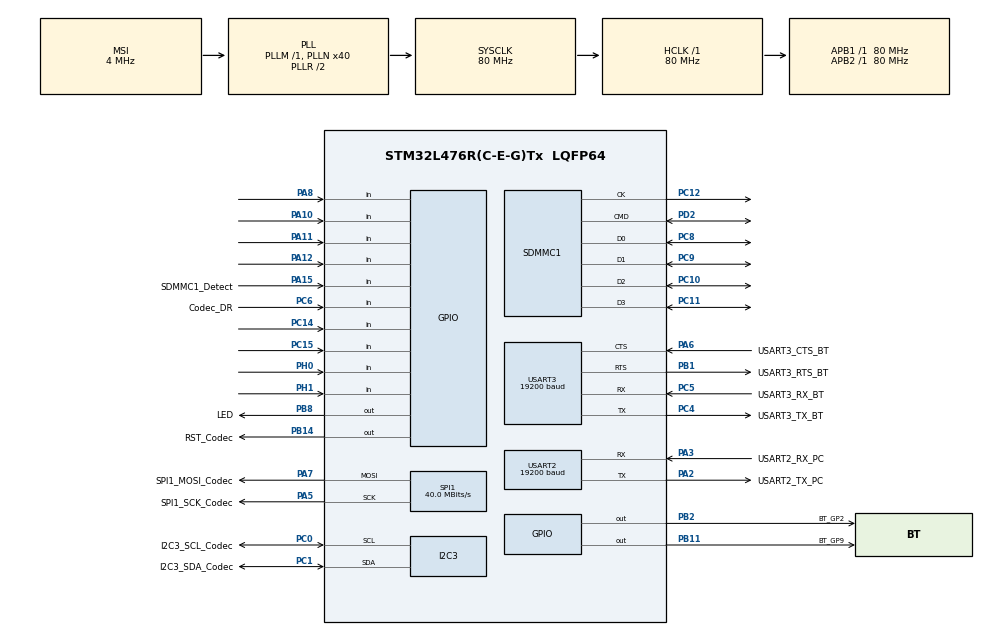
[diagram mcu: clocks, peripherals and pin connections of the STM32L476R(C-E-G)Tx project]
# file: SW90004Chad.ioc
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FREERTOS.Tasks01=defaultTask,0,256,StartDefaultTask,Default
FREERTOS.configMINIMAL_STACK_SIZE=128
FREERTOS.configTOTAL_HEAP_SIZE=4000
Mcu.Family=STM32L4
Mcu.Name=STM32L476R(C-E-G)Tx
Mcu.Package=LQFP64
NVIC.PriorityGroup=NVIC_PRIORITYGROUP_4
NVIC.TIM1_UP_TIM16_IRQn=true\:0\:0\:false\:false\:true
NVIC.TimeBase=TIM1_UP_TIM16_IRQn
NVIC.TimeBaseIP=TIM1
PA10.Signal=GPIO_Input
PA11.Signal=GPIO_Input
PA12.Signal=GPIO_Input
PA13.Mode=Serial-Wire
PA13.Signal=SYS_JTMS-SWDIO
PA14.Mode=Serial-Wire
PA14.Signal=SYS_JTCK-SWCLK
PA15.GPIO_Label=SDMMC1_Detect
PA15.Signal=GPIO_Input
PA2.GPIO_Label=USART2_TX_PC
PA2.Mode=Asynchronous
PA2.Signal=USART2_TX
PA3.GPIO_Label=USART2_RX_PC
PA3.Mode=Asynchronous
PA3.Signal=USART2_RX
PA5.GPIO_Label=SPI1_SCK_Codec
PA5.Mode=TX_Only_Simplex_Unidirect_Master
PA5.Signal=SPI1_SCK
PA6.GPIO_Label=USART3_CTS_BT
PA6.Mode=CTS_RTS
PA6.Signal=USART3_CTS
PA7.GPIO_Label=SPI1_MOSI_Codec
PA7.Mode=TX_Only_Simplex_Unidirect_Master
PA7.Signal=SPI1_MOSI
PA8.Signal=GPIO_Input
PB1.GPIO_Label=USART3_RTS_BT
PB1.Mode=CTS_RTS
PB1.Signal=USART3_RTS
PB11.GPIO_Label=BT_GP9
PB11.Signal=GPIO_Output
PB14.GPIO_Label=RST_Codec
PB14.Signal=GPIO_Output
PB2.GPIO_Label=BT_GP2
PB2.Signal=GPIO_Output
PB8.GPIO_Label=LED
PB8.Signal=GPIO_Output
PC0.GPIO_Label=I2C3_SCL_Codec
PC0.Mode=I2C
PC0.Signal=I2C3_SCL
PC1.GPIO_Label=I2C3_SDA_Codec
PC1.Mode=I2C
PC1.Signal=I2C3_SDA
PC10.Mode=SD_4_bits_Wide_bus
PC10.Signal=SDMMC1_D2
PC11.Mode=SD_4_bits_Wide_bus
PC11.Signal=SDMMC1_D3
PC12.Mode=SD_4_bits_Wide_bus
PC12.Signal=SDMMC1_CK
PC13.Mode=SYS-WakeUp2
PC13.Signal=SYS_WKUP2
PC14/OSC32_IN.Signal=GPIO_Input
PC15/OSC32_OUT.Signal=GPIO_Input
PC4.GPIO_Label=USART3_TX_BT
PC4.Mode=Asynchronous
PC4.Signal=USART3_TX
PC5.GPIO_Label=USART3_RX_BT
PC5.Mode=Asynchronous
PC5.Signal=USART3_RX
PC6.GPIO_Label=Codec_DR
PC6.Signal=GPIO_Input
PC8.Mode=SD_4_bits_Wide_bus
PC8.Signal=SDMMC1_D0
PC9.Mode=SD_4_bits_Wide_bus
PC9.Signal=SDMMC1_D1
PD2.Mode=SD_4_bits_Wide_bus
PD2.Signal=SDMMC1_CMD
PH0/OSC_IN.Signal=GPIO_Input
PH1/OSC_OUT.Signal=GPIO_Input
ProjectManager.HeapSize=0x400
ProjectManager.StackSize=0x200
ProjectManager.TargetToolchain=EWARM
RCC.ADCFreq_Value=32000000
RCC.AHBFreq_Value=80000000
RCC.APB1Freq_Value=80000000
RCC.APB1TimFreq_Value=80000000
RCC.APB2Freq_Value=80000000
RCC.APB2TimFreq_Value=80000000
RCC.CortexFreq_Value=80000000
RCC.HCLKFreq_Value=80000000
RCC.HSE_VALUE=8000000
RCC.HSI_VALUE=16000000
RCC.LSE_VALUE=32768
RCC.MSI_VALUE=4000000
RCC.PLLN=40
RCC.PLLSAI1N=16
RCC.SYSCLKFreq_VALUE=80000000
RCC.SYSCLKSource=RCC_SYSCLKSOURCE_PLLCLK
RCC.USBFreq_Value=32000000
RCC.VCOOutputFreq_Value=160000000
SDMMC1.BusWide=SDMMC_BUS_WIDE_1B
SDMMC1.WideMode=SDMMC_BUS_WIDE_4B
SPI1.CalculateBaudRate=40.0 MBits/s
SPI1.DataSize=SPI_DATASIZE_8BIT
SPI1.Mode=SPI_MODE_MASTER
USART2.BaudRate=19200
USART2.WordLength=UART_WORDLENGTH_8B
USART3.BaudRate=19200
USART3.WordLength=UART_WORDLENGTH_8B
VP_FATFS_VS_SDIO.Mode=SDIO
VP_FREERTOS_VS_ENABLE.Mode=Enabled
VP_SYS_VS_tim1.Mode=TIM1
board=SW90004Chad

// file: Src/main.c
/**
  ******************************************************************************
  * File Name          : main.c
  * Description        : Main program body
  ******************************************************************************
  *
  * COPYRIGHT(c) 2016 STMicroelectronics
  *
  * Redistribution and use in source and binary forms, with or without modification,
  * are permitted provided that the following conditions are met:
  *   1. Redistributions of source code must retain the above copyright notice,
  *      this list of conditions and the following disclaimer.
  *   2. Redistributions in binary form must reproduce the above copyright notice,
  *      this list of conditions and the following disclaimer in the documentation
  *      and/or other materials provided with the distribution.
  *   3. Neither the name of STMicroelectronics nor the names of its contributors
  *      may be used to endorse or promote products derived from this software
  *      without specific prior written permission.
  *
  * THIS SOFTWARE IS PROVIDED BY THE COPYRIGHT HOLDERS AND CONTRIBUTORS "AS IS"
  * AND ANY EXPRESS OR IMPLIED WARRANTIES, INCLUDING, BUT NOT LIMITED TO, THE
  * IMPLIED WARRANTIES OF MERCHANTABILITY AND FITNESS FOR A PARTICULAR PURPOSE ARE
  * DISCLAIMED. IN NO EVENT SHALL THE COPYRIGHT HOLDER OR CONTRIBUTORS BE LIABLE
  * FOR ANY DIRECT, INDIRECT, INCIDENTAL, SPECIAL, EXEMPLARY, OR CONSEQUENTIAL
  * DAMAGES (INCLUDING, BUT NOT LIMITED TO, PROCUREMENT OF SUBSTITUTE GOODS OR
  * SERVICES; LOSS OF USE, DATA, OR PROFITS; OR BUSINESS INTERRUPTION) HOWEVER
  * CAUSED AND ON ANY THEORY OF LIABILITY, WHETHER IN CONTRACT, STRICT LIABILITY,
  * OR TORT (INCLUDING NEGLIGENCE OR OTHERWISE) ARISING IN ANY WAY OUT OF THE USE
  * OF THIS SOFTWARE, EVEN IF ADVISED OF THE POSSIBILITY OF SUCH DAMAGE.
  *
  ******************************************************************************
  */
#include "stm32l4xx_hal.h"
#include "cmsis_os.h"
#include "fatfs.h"
#include "staConfig.h"
#include <stdint.h>

I2C_HandleTypeDef hi2c3;

SD_HandleTypeDef hsd1;
HAL_SD_CardInfoTypedef SDCardInfo1;

SPI_HandleTypeDef hspi1;

UART_HandleTypeDef huart2;
UART_HandleTypeDef huart3;

osThreadId defaultTaskHandle;

/* USER CODE BEGIN PV */
/* Private variables ---------------------------------------------------------*/

/* USER CODE END PV */

void SystemClock_Config(void);
static void MX_GPIO_Init(void);
static void MX_SDMMC1_SD_Init(void);
static void MX_USART2_UART_Init(void);
static void MX_USART3_UART_Init(void);
static void MX_SPI1_Init(void);
static void MX_I2C3_Init(void);
void StartDefaultTask(void const * argument);
static void setPin(char *pin);
static void volUp();
static void volDown();
//static void I2C_WriteBuffer(uint8_t I2C_ADDRESS, uint8_t *aTxBuffer, uint8_t TXBUFFERSIZE);
uint8_t staBoardInitPre(int x, int y);
uint8_t staBoardInitPost(int x, int y);

/* USER CODE BEGIN PFP

/* USER CODE END PFP */

int main(void)
{

  /* MCU Configuration----------------------------------------------------------*/

  /* Reset of all peripherals, Initializes the Flash interface and the Systick. */
  HAL_Init();

  /* Configure the system clock */
  SystemClock_Config();

  /* Initialize all configured peripherals */
  MX_GPIO_Init();
  MX_SDMMC1_SD_Init();
  MX_USART2_UART_Init();
  MX_USART3_UART_Init();
  MX_SPI1_Init();
  MX_I2C3_Init();

  /* USER CODE BEGIN 2 */

  int i=0;
  //char *msg = "\nConnected";
  uint8_t reg;
  uint8_t data;
  //setPin("2250");

//Send these values above to the i2c one at a time to load bin values
  //Configure low level Hardware (GPIO, CLOCK, NVIC...etc)
  HAL_I2C_MspInit(&hi2c3);
  uint8_t tmp;

/*  //Set STA013 to Run mode
  HAL_I2C_Master_Transmit(&hi2c3, 0x72 << 1, 114, 1, 1000);
*/

  //Initialize the Decoder
  //Load Registers
 /** for(i=0; i < 2013; i++){

	  	  data = staBoardInitPre(i,0);
		  reg = staBoardInitPre(i,1);
		  HAL_I2C_Master_Transmit(&hi2c3, data << 1, &reg, 1, 1000);
	  }
**/
  //Board specific initialization
  for(i=0; i < 13; i++){

	  	  data = staBoardInitPost(i,0);
		  reg = staBoardInitPost(i,1);
		  HAL_I2C_Master_Transmit(&hi2c3, data << 1, &reg, 1, 1000);
	  }

  reg = 1;
  data = 0x01;
  volatile HAL_StatusTypeDef status = HAL_I2C_IsDeviceReady(&hi2c3, data << 1, 10, 200);
  /*Check to verify ACK and see if 0xAC data at address 1 (which means the STA013 is present
  and running properly */
  volatile HAL_StatusTypeDef read = HAL_I2C_Mem_Read(&hi2c3, data << 1, reg, I2C_MEMADD_SIZE_8BIT, &tmp, 1, 1000);
  //volatile uint8_t regRead = sta013ReadReg(0x01);

  //Check if target device is ready for communication
  volatile HAL_StatusTypeDef check = HAL_I2C_IsDeviceReady(&hi2c3, data << 1, 10, 100);

  read = HAL_I2C_Slave_Receive(&hi2c3, (uint8_t *) (0x01 << 1), 1, 1000);
  read = HAL_I2C_Master_Receive(&hi2c3, (uint8_t)data << 1, (uint8_t *)reg, 1, 1000);

  //volatile HAL_StatusTypeDef check = HAL_I2C_IsDeviceReady(&hi2c3, 134 << 1, 10,100);

  ///if(HAL_I2C_IsDeviceReady(&hi2c3, 0 << 1, 10, 100) == HAL_OK){

	  //HAL_I2C_Master_Transmit();
	  //I2C_WriteBuffer(&hi2ci1,)
	  //HAL_I2C_Master_Transmit(&hi2c3, 0x01);
  //}

  //I2C_GENERATE_START_READ;

  /* USER CODE END 2 */

  /* Create the thread(s) */
  /* definition and creation of defaultTask */
  osThreadDef(defaultTask, StartDefaultTask, osPriorityNormal, 0, 256);
  defaultTaskHandle = osThreadCreate(osThread(defaultTask), NULL);

  /* Start scheduler */
  osKernelStart();

  /* We should never get here as control is now taken by the scheduler */

  /* Infinite loop */
  while (1)
  {

  }

}

/** System Clock Configuration
*/
void SystemClock_Config(void)
{

  RCC_OscInitTypeDef RCC_OscInitStruct;
  RCC_ClkInitTypeDef RCC_ClkInitStruct;
  RCC_PeriphCLKInitTypeDef PeriphClkInit;

  RCC_OscInitStruct.OscillatorType = RCC_OSCILLATORTYPE_MSI;
  RCC_OscInitStruct.MSIState = RCC_MSI_ON;
  RCC_OscInitStruct.MSICalibrationValue = 0;
  RCC_OscInitStruct.MSIClockRange = RCC_MSIRANGE_6;
  RCC_OscInitStruct.PLL.PLLState = RCC_PLL_ON;
  RCC_OscInitStruct.PLL.PLLSource = RCC_PLLSOURCE_MSI;
  RCC_OscInitStruct.PLL.PLLM = 1;
  RCC_OscInitStruct.PLL.PLLN = 40;
  RCC_OscInitStruct.PLL.PLLP = RCC_PLLP_DIV7;
  RCC_OscInitStruct.PLL.PLLQ = RCC_PLLQ_DIV2;
  RCC_OscInitStruct.PLL.PLLR = RCC_PLLR_DIV2;
  HAL_RCC_OscConfig(&RCC_OscInitStruct);

  RCC_ClkInitStruct.ClockType = RCC_CLOCKTYPE_HCLK|RCC_CLOCKTYPE_SYSCLK
                              |RCC_CLOCKTYPE_PCLK1|RCC_CLOCKTYPE_PCLK2;
  RCC_ClkInitStruct.SYSCLKSource = RCC_SYSCLKSOURCE_PLLCLK;
  RCC_ClkInitStruct.AHBCLKDivider = RCC_SYSCLK_DIV1;
  RCC_ClkInitStruct.APB1CLKDivider = RCC_HCLK_DIV1;
  RCC_ClkInitStruct.APB2CLKDivider = RCC_HCLK_DIV1;
  HAL_RCC_ClockConfig(&RCC_ClkInitStruct, FLASH_LATENCY_4);

  PeriphClkInit.PeriphClockSelection = RCC_PERIPHCLK_USART2|RCC_PERIPHCLK_USART3
                              |RCC_PERIPHCLK_I2C3|RCC_PERIPHCLK_SDMMC1;
  PeriphClkInit.Usart2ClockSelection = RCC_USART2CLKSOURCE_PCLK1;
  PeriphClkInit.Usart3ClockSelection = RCC_USART3CLKSOURCE_PCLK1;
  PeriphClkInit.I2c3ClockSelection = RCC_I2C3CLKSOURCE_PCLK1;
  PeriphClkInit.Sdmmc1ClockSelection = RCC_SDMMC1CLKSOURCE_PLLSAI1;
  PeriphClkInit.PLLSAI1.PLLSAI1N = 16;
  PeriphClkInit.PLLSAI1.PLLSAI1P = RCC_PLLP_DIV7;
  PeriphClkInit.PLLSAI1.PLLSAI1Q = RCC_PLLQ_DIV2;
  PeriphClkInit.PLLSAI1.PLLSAI1R = RCC_PLLR_DIV2;
  PeriphClkInit.PLLSAI1.PLLSAI1ClockOut = RCC_PLLSAI1_48M2CLK;
  HAL_RCCEx_PeriphCLKConfig(&PeriphClkInit);

  __HAL_RCC_PWR_CLK_ENABLE();

  HAL_PWREx_ControlVoltageScaling(PWR_REGULATOR_VOLTAGE_SCALE1);

  HAL_SYSTICK_Config(HAL_RCC_GetHCLKFreq()/1000);

  HAL_SYSTICK_CLKSourceConfig(SYSTICK_CLKSOURCE_HCLK);

  /* SysTick_IRQn interrupt configuration */
  HAL_NVIC_SetPriority(SysTick_IRQn, 15, 0);
}

/* I2C3 init function */
void MX_I2C3_Init(void)
{

  hi2c3.Instance = I2C3;
  hi2c3.Init.Timing = 0x00000000;
  hi2c3.Init.OwnAddress1 = 0;
  hi2c3.Init.AddressingMode = I2C_ADDRESSINGMODE_7BIT;
  hi2c3.Init.DualAddressMode = I2C_DUALADDRESS_DISABLE;
  hi2c3.Init.OwnAddress2 = 0;
  hi2c3.Init.OwnAddress2Masks = I2C_OA2_NOMASK;
  hi2c3.Init.GeneralCallMode = I2C_GENERALCALL_DISABLE;
  hi2c3.Init.NoStretchMode = I2C_NOSTRETCH_DISABLE;
  HAL_I2C_Init(&hi2c3);

    /**Configure Analogue filter
    */
  HAL_I2CEx_ConfigAnalogFilter(&hi2c3, I2C_ANALOGFILTER_ENABLE);

}

/* SDMMC1 init function */
void MX_SDMMC1_SD_Init(void)
{

  hsd1.Instance = SDMMC1;
  hsd1.Init.ClockEdge = SDMMC_CLOCK_EDGE_RISING;
  hsd1.Init.ClockBypass = SDMMC_CLOCK_BYPASS_DISABLE;
  hsd1.Init.ClockPowerSave = SDMMC_CLOCK_POWER_SAVE_DISABLE;
  hsd1.Init.BusWide = SDMMC_BUS_WIDE_1B;
  hsd1.Init.HardwareFlowControl = SDMMC_HARDWARE_FLOW_CONTROL_DISABLE;
  hsd1.Init.ClockDiv = 0;

}

/* SPI1 init function */
void MX_SPI1_Init(void)
{

  hspi1.Instance = SPI1;
  hspi1.Init.Mode = SPI_MODE_MASTER;
  hspi1.Init.Direction = SPI_DIRECTION_2LINES;
  hspi1.Init.DataSize = SPI_DATASIZE_8BIT;
  hspi1.Init.CLKPolarity = SPI_POLARITY_LOW;
  hspi1.Init.CLKPhase = SPI_PHASE_1EDGE;
  hspi1.Init.NSS = SPI_NSS_SOFT;
  hspi1.Init.BaudRatePrescaler = SPI_BAUDRATEPRESCALER_2;
  hspi1.Init.FirstBit = SPI_FIRSTBIT_MSB;
  hspi1.Init.TIMode = SPI_TIMODE_DISABLE;
  hspi1.Init.CRCCalculation = SPI_CRCCALCULATION_DISABLE;
  hspi1.Init.CRCPolynomial = 7;
  hspi1.Init.CRCLength = SPI_CRC_LENGTH_DATASIZE;
  hspi1.Init.NSSPMode = SPI_NSS_PULSE_ENABLE;
  HAL_SPI_Init(&hspi1);

}

/* USART2 init function */
void MX_USART2_UART_Init(void)
{

  huart2.Instance = USART2;
  huart2.Init.BaudRate = 19200;
  huart2.Init.WordLength = UART_WORDLENGTH_8B;
  huart2.Init.StopBits = UART_STOPBITS_1;
  huart2.Init.Parity = UART_PARITY_NONE;
  huart2.Init.Mode = UART_MODE_TX_RX;
  huart2.Init.HwFlowCtl = UART_HWCONTROL_NONE;
  huart2.Init.OverSampling = UART_OVERSAMPLING_16;
  huart2.Init.OneBitSampling = UART_ONE_BIT_SAMPLE_DISABLE;
  huart2.AdvancedInit.AdvFeatureInit = UART_ADVFEATURE_NO_INIT;
  HAL_UART_Init(&huart2);

}

/* USART3 init function */
void MX_USART3_UART_Init(void)
{

  huart3.Instance = USART3;
  huart3.Init.BaudRate = 19200;
  huart3.Init.WordLength = UART_WORDLENGTH_8B;
  huart3.Init.StopBits = UART_STOPBITS_1;
  huart3.Init.Parity = UART_PARITY_NONE;
  huart3.Init.Mode = UART_MODE_TX_RX;
  huart3.Init.HwFlowCtl = UART_HWCONTROL_RTS_CTS;
  huart3.Init.OverSampling = UART_OVERSAMPLING_16;
  huart3.Init.OneBitSampling = UART_ONE_BIT_SAMPLE_DISABLE;
  huart3.AdvancedInit.AdvFeatureInit = UART_ADVFEATURE_NO_INIT;
  HAL_UART_Init(&huart3);

}

/** Configure pins as
        * Analog
        * Input
        * Output
        * EVENT_OUT
        * EXTI
*/
void MX_GPIO_Init(void)
{

  GPIO_InitTypeDef GPIO_InitStruct;

  /* GPIO Ports Clock Enable */
  __HAL_RCC_GPIOC_CLK_ENABLE();
  __HAL_RCC_GPIOH_CLK_ENABLE();
  __HAL_RCC_GPIOA_CLK_ENABLE();
  __HAL_RCC_GPIOB_CLK_ENABLE();
  __HAL_RCC_GPIOD_CLK_ENABLE();

  /*Configure GPIO pins : PC14 PC15 Codec_DR_Pin */
  GPIO_InitStruct.Pin = GPIO_PIN_14|GPIO_PIN_15|Codec_DR_Pin;
  GPIO_InitStruct.Mode = GPIO_MODE_INPUT;
  GPIO_InitStruct.Pull = GPIO_NOPULL;
  HAL_GPIO_Init(GPIOC, &GPIO_InitStruct);

  /*Configure GPIO pins : PH0 PH1 */
  GPIO_InitStruct.Pin = GPIO_PIN_0|GPIO_PIN_1;
  GPIO_InitStruct.Mode = GPIO_MODE_INPUT;
  GPIO_InitStruct.Pull = GPIO_NOPULL;
  HAL_GPIO_Init(GPIOH, &GPIO_InitStruct);

  /*Configure GPIO pins : BT_GP2_Pin BT_GP9_Pin RST_Codec_Pin LED_Pin */
  GPIO_InitStruct.Pin = BT_GP2_Pin|BT_GP9_Pin|RST_Codec_Pin|LED_Pin;
  GPIO_InitStruct.Mode = GPIO_MODE_OUTPUT_PP;
  GPIO_InitStruct.Pull = GPIO_NOPULL;
  GPIO_InitStruct.Speed = GPIO_SPEED_FREQ_LOW;
  HAL_GPIO_Init(GPIOB, &GPIO_InitStruct);

  /*Configure GPIO pins : PA8 PA10 PA11 PA12
                           SDMMC1_Detect_Pin */
  GPIO_InitStruct.Pin = GPIO_PIN_8|GPIO_PIN_10|GPIO_PIN_11|GPIO_PIN_12
                          |SDMMC1_Detect_Pin;
  GPIO_InitStruct.Mode = GPIO_MODE_INPUT;
  GPIO_InitStruct.Pull = GPIO_NOPULL;
  HAL_GPIO_Init(GPIOA, &GPIO_InitStruct);

  /*Configure GPIO pin Output Level */
  HAL_GPIO_WritePin(GPIOB, BT_GP2_Pin|BT_GP9_Pin|RST_Codec_Pin|LED_Pin, GPIO_PIN_RESET);

}

/* StartDefaultTask function */
void StartDefaultTask(void const * argument)
{
  /* init code for FATFS */
  MX_FATFS_Init();

  for(;;)
  {
    osDelay(1);
  }
}

static void setPin(char *pin){

	char *msgStart = "SP,";
	char *msgEnd = "\r";
	char *msg = (char *) malloc(4 + strlen(msgStart)+ strlen(msgEnd));

	strcpy(msg,  msgStart);
	strcat(msg, pin);
	strcat(msg, msgEnd);

	HAL_UART_Transmit(&huart3, (uint8_t*)msg, strlen(msg), HAL_MAX_DELAY);

}

static void volUp(){

	char *msg = "AV+\r";
	HAL_UART_Transmit(&huart3, (uint8_t*)msg, strlen(msg), HAL_MAX_DELAY);
}

static void volDown(){
	char *msg = "AV-\r";
	HAL_UART_Transmit(&huart3, (uint8_t*)msg, strlen(msg), HAL_MAX_DELAY);
}

// static void I2C_WriteBuffer(uint8_t I2C_ADDRESS, uint8_t *aTxBuffer, uint8_t TXBUFFERSIZE){

	/* -> Start the transmission process */
    /* While the I2C in reception process, user can transmit data through "aTxBuffer" buffer */
   // while(HAL_I2C_Master_Transmit(&I2C_HandleTypeDef, (uint16_t)I2C_ADDRESS<<1,(uint8_t*)aTxBuffer,
    //	 (uint16_t)TXBUFFERSIZE, (uint32_t)1000)!= HAL_OK){

    	/*
         * Error_Handler() function is called when Timeout error occurs.
         * When Acknowledge failure occurs (Slave don't acknowledge it's address)
         * Master restarts communication
         */

      //  if (HAL_I2C_GetError(&I2C_HandleTypeDef) != HAL_I2C_ERROR_AF){
      //      DEBUG(3, "In I2C::WriteBuffer -> error");
      //      Error_Handler(3);
      //  }

    //}

/************************ (C) COPYRIGHT STMicroelectronics *****END OF FILE****/
